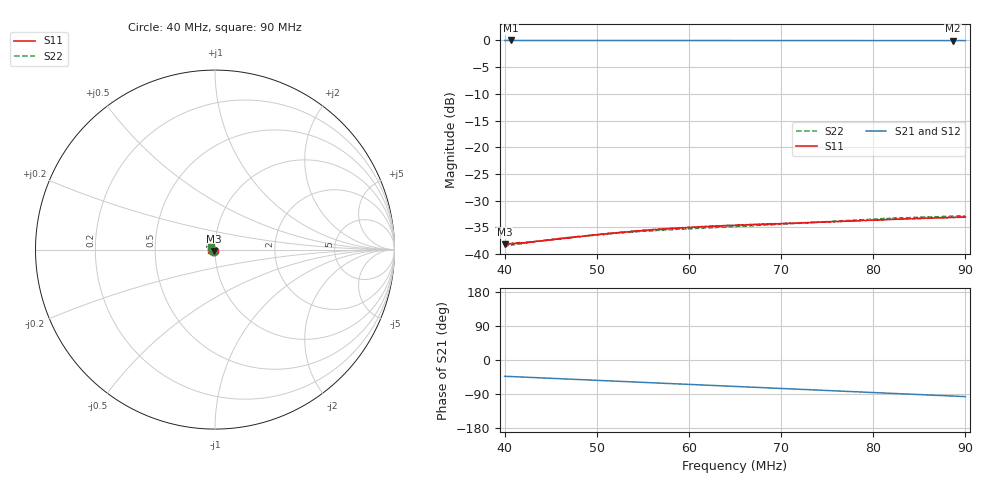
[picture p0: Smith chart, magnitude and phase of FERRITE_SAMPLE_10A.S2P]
!Agilent Technologies,E5061B,MY49102235,A.02.00
!Date: Mon Jul 03 10:28:31 2023
!Data & Calibration Information:
!Freq	S11:SOLT2(ON)	S21:SOLT2(ON)	S12:SOLT2(ON)	S22:SOLT2(ON)
# Hz S RI R 50
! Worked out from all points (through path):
!   1600 points, 40 MHz to 90 MHz, reference 50 ohm
!   highest |S21| = 0.00 dB at 40.69 MHz (marker M1); lowest = 0.0 dB at 88.66 MHz (marker M2)
!   group delay of S21, straight-line fit = 2.98 ns
!   lowest |S11| = -38.1 dB at 40 MHz (marker M3), VSWR 1.03, Z = 49.2 - j0.956 ohm
!   |S11| at or under -10 dB: start of sweep to end of sweep
!   |S22| runs from -38.5 to -32.8 dB; largest |S21 - S12| = 0.0015
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4e7  -0.00768 -0.00971  0.7319 -0.6808  0.7318 -0.6799  -0.0101 -0.00644
4.068793e7  -0.00792 -0.0097  0.7233 -0.6901  0.7235 -0.6892  -0.0103 -0.00641
4.196998e7  -0.00832 -0.00978  0.7062 -0.7071  0.7063 -0.7065  -0.0108 -0.00627
4.306442e7  -0.0086 -0.00975  0.6913 -0.7214  0.6919 -0.7206  -0.0114 -0.00625
4.54409e7  -0.00936 -0.00996  0.6587 -0.7514  0.6587 -0.7508  -0.0125 -0.0058
4.834897e7  -0.0103 -0.0103  0.6167 -0.7857  0.6168 -0.7853  -0.0137 -0.00508
5.066291e7  -0.0112 -0.0105  0.5819 -0.8119  0.5822 -0.8112  -0.0146 -0.00446
5.294559e7  -0.012 -0.0106  0.5466 -0.8356  0.5468 -0.8352  -0.0155 -0.0036
5.666667e7  -0.0132 -0.0108  0.487 -0.8713  0.487 -0.8709  -0.0167 -0.0022
5.898061e7  -0.0139 -0.0108  0.4489 -0.8915  0.4488 -0.8911  -0.0171 -0.00146
6.073171e7  -0.0145 -0.0105  0.4196 -0.9057  0.4196 -0.905  -0.0174 -0.000637
6.42339e7  -0.0156 -0.00983  0.3592 -0.9312  0.3593 -0.9305  -0.0181 0.000432
6.501563e7  -0.016 -0.00962  0.3452 -0.9366  0.3457 -0.9357  -0.0181 0.000659
6.651657e7  -0.0164 -0.00913  0.319 -0.9456  0.3191 -0.9448  -0.0183 0.00118
6.898687e7  -0.0172 -0.00819  0.2749 -0.9594  0.2752 -0.9585  -0.0188 0.00209
7.33646e7  -0.0186 -0.00695  0.1948 -0.9787  0.1958 -0.978  -0.0195 0.00362
7.761726e7  -0.0197 -0.00542  0.1161 -0.9906  0.1167 -0.9902  -0.0199 0.00548
8.115072e7  -0.0205 -0.00455  0.0502 -0.9956  0.0508 -0.995  -0.0201 0.00725
8.16823e7  -0.0207 -0.00432  0.0402 -0.996  0.0409 -0.9956  -0.0202 0.00752
8.468418e7  -0.0213 -0.00342  -0.0156 -0.9963  -0.0156 -0.9958  -0.02 0.00912
8.865541e7  -0.0218 -0.0024  -0.0896 -0.9916  -0.0892 -0.9915  -0.0196 0.0113
9e7  -0.0222 -0.00201  -0.1145 -0.9893  -0.1139 -0.989  -0.0195 0.0119
